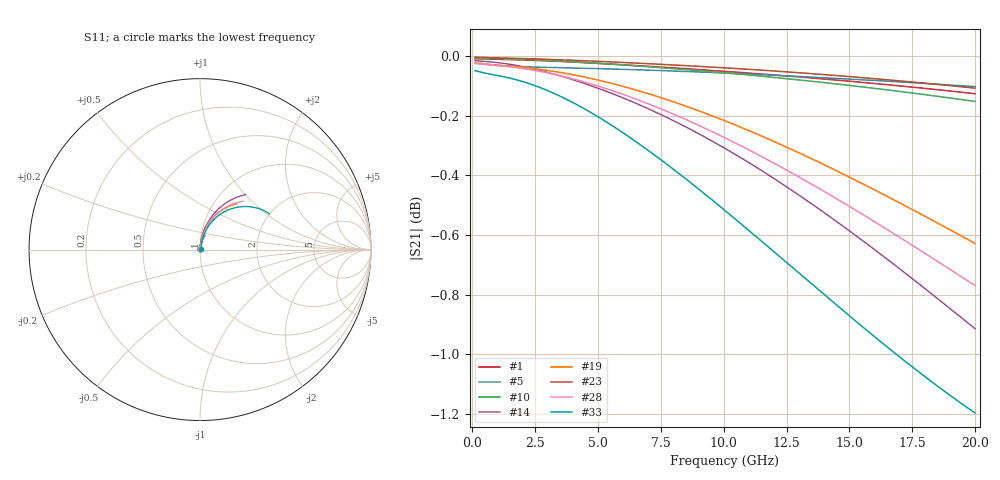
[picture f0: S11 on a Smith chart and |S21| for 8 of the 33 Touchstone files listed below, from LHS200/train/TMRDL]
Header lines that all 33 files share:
! Touchstone file exported from HFSS 2026.1.0
!  Design:  TMRDL
! Variables:
! Terminal data exported
# GHz S MA R 50.000000
Fixed: h_bsmrdl = 2um, h_ox = 20um, h_rdl = 5um, h_sub = 80um, h_tsv = 80um, h_via = 3um, l_bsmrdl = 300um, m_sub = 200um, r_tsv = 6um, s_tmrdl = 10um, w_bsmrdl = 18um, w_sub = 500um
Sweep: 100 MHz to 20 GHz
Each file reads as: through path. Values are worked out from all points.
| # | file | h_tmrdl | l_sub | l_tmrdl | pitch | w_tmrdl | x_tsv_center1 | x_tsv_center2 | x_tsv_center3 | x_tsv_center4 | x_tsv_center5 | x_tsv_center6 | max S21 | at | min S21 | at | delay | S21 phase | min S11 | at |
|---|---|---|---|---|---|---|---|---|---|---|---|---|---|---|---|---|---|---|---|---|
| 1 | dut100.s2p | 5.72um | 560.83um | 160.83um | 32.44um | 10.01um | 165.835um | 483.835um | 654.675um | 972.675um | 1143.515um | 1461.515um | -0.01 dB | 100 MHz | -0.1 dB | 20 GHz | 1.77 ps | -7 deg at 10.1 GHz | -57.5 dB | 100 MHz |
| 2 | dut101.s2p | 2.25um | 1359.22um | 959.22um | 56.12um | 28.92um | 973.68um | 1291.68um | 2279.82um | 2597.82um | 3585.96um | 3903.96um | -0.05 dB | 100 MHz | -1.2 dB | 20 GHz | 8.51 ps | -33 deg at 10.1 GHz | -43.5 dB | 100 MHz |
| 3 | dut104.s2p | 5.92um | 520.7um | 120.7um | 58.37um | 29.01um | 135.205um | 453.205um | 602.915um | 920.915um | 1070.625um | 1388.625um | 0.00 dB | 100 MHz | -0.1 dB | 20 GHz | 1.5 ps | -6 deg at 10.1 GHz | -62.9 dB | 100 MHz |
| 4 | dut105.s2p | 2.46um | 1120.63um | 720.63um | 12.65um | 10.52um | 725.89um | 1043.89um | 1775.04um | 2093.04um | 2824.19um | 3142.19um | -0.09 dB | 100 MHz | -0.3 dB | 20 GHz | 5.53 ps | -20 deg at 10.1 GHz | -40.1 dB | 100 MHz |
| 5 | dut106.s2p | 2.01um | 628.7um | 228.7um | 22.67um | 15.88um | 236.64um | 554.64um | 799.22um | 1117.22um | 1361.8um | 1679.8um | -0.03 dB | 100 MHz | -0.1 dB | 20 GHz | 2 ps | -7 deg at 10.1 GHz | -50.6 dB | 100 MHz |
| 6 | dut108.s2p | 5.53um | 705.95um | 305.95um | 12.91um | 10.56um | 311.23um | 629.23um | 945.74um | 1263.74um | 1580.25um | 1898.25um | -0.02 dB | 100 MHz | -0.1 dB | 20 GHz | 2.41 ps | -9 deg at 10.1 GHz | -54.1 dB | 100 MHz |
| 7 | dut109.s2p | 5.86um | 1319.67um | 919.67um | 14.39um | 12.32um | 925.83um | 1243.83um | 2175.82um | 2493.82um | 3425.81um | 3743.81um | -0.04 dB | 100 MHz | -0.8 dB | 20 GHz | 7.33 ps | -28 deg at 10.1 GHz | -46.4 dB | 100 MHz |
| 8 | dut110.s2p | 5.74um | 1074.93um | 674.93um | 59.59um | 29.73um | 689.795um | 1007.795um | 1712.455um | 2030.455um | 2735.115um | 3053.115um | -0.01 dB | 100 MHz | -0.7 dB | 20 GHz | 6.17 ps | -23 deg at 10.1 GHz | -50.6 dB | 100 MHz |
| 9 | dut111.s2p | 5.96um | 1020.47um | 620.47um | 17.61um | 10.33um | 625.635um | 943.635um | 1574.435um | 1892.435um | 2523.235um | 2841.235um | -0.03 dB | 100 MHz | -0.2 dB | 20 GHz | 4.76 ps | -18 deg at 10.1 GHz | -48.3 dB | 100 MHz |
| 10 | dut112.s2p | 4.23um | 613.44um | 213.44um | 57.53um | 29.78um | 228.33um | 546.33um | 789.55um | 1107.55um | 1350.77um | 1668.77um | -0.01 dB | 100 MHz | -0.2 dB | 20 GHz | 2.38 ps | -9 deg at 10.1 GHz | -58.0 dB | 100 MHz |
| 11 | dut113.s2p | 2.5um | 600.59um | 200.59um | 12.37um | 10.09um | 205.635um | 523.635um | 734.315um | 1052.315um | 1262.995um | 1580.995um | -0.03 dB | 100 MHz | -0.1 dB | 20 GHz | 1.56 ps | -6 deg at 10.1 GHz | -50.4 dB | 100 MHz |
| 12 | dut114.s2p | 2.14um | 688.44um | 288.44um | 39.4um | 10.33um | 293.605um | 611.605um | 910.375um | 1228.375um | 1527.145um | 1845.145um | -0.04 dB | 100 MHz | -0.5 dB | 20 GHz | 3.52 ps | -13 deg at 10.1 GHz | -45.8 dB | 100 MHz |
| 13 | dut115.s2p | 2.02um | 1325.15um | 925.15um | 17.36um | 15.64um | 932.97um | 1250.97um | 2191.76um | 2509.76um | 3450.55um | 3768.55um | -0.09 dB | 100 MHz | -0.4 dB | 20 GHz | 7.21 ps | -27 deg at 10.1 GHz | -39.6 dB | 100 MHz |
| 14 | dut116.s2p | 5.96um | 907.2um | 507.2um | 58.98um | 17.56um | 515.98um | 833.98um | 1358.74um | 1676.74um | 2201.5um | 2519.5um | -0.02 dB | 100 MHz | -0.9 dB | 20 GHz | 5.34 ps | -21 deg at 10.1 GHz | -49.9 dB | 100 MHz |
| 15 | dut117.s2p | 4.37um | 516.55um | 116.55um | 32.01um | 11.14um | 122.12um | 440.12um | 567.81um | 885.81um | 1013.5um | 1331.5um | -0.01 dB | 100 MHz | -0.1 dB | 20 GHz | 1.37 ps | -5 deg at 10.1 GHz | -58.8 dB | 100 MHz |
| 16 | dut118.s2p | 5.64um | 502.49um | 102.49um | 19.25um | 15.57um | 110.275um | 428.275um | 546.335um | 864.335um | 982.395um | 1300.395um | 0.00 dB | 100 MHz | 0.0 dB | 20 GHz | - | -3 deg at 10.1 GHz | -65.1 dB | 100 MHz |
| 17 | dut119.s2p | 5.99um | 738.12um | 338.12um | 51.31um | 12.11um | 344.175um | 662.175um | 1012.405um | 1330.405um | 1680.635um | 1998.635um | -0.01 dB | 100 MHz | -0.6 dB | 20 GHz | 3.89 ps | -15 deg at 10.1 GHz | -51.7 dB | 100 MHz |
| 18 | dut120.s2p | 2.03um | 873.42um | 473.42um | 26.79um | 24.73um | 485.785um | 803.785um | 1301.935um | 1619.935um | 2118.085um | 2436.085um | -0.03 dB | 100 MHz | -0.2 dB | 20 GHz | 3.79 ps | -14 deg at 10.1 GHz | -48.5 dB | 100 MHz |
| 19 | dut121.s2p | 2.81um | 922.07um | 522.07um | 59.32um | 29.54um | 536.84um | 854.84um | 1406.45um | 1724.45um | 2276.06um | 2594.06um | -0.02 dB | 100 MHz | -0.6 dB | 20 GHz | 5.21 ps | -20 deg at 10.1 GHz | -49.4 dB | 100 MHz |
| 20 | dut122.s2p | 5.14um | 1375.36um | 975.36um | 59.43um | 29.47um | 990.095um | 1308.095um | 2312.925um | 2630.925um | 3635.755um | 3953.755um | -0.02 dB | 100 MHz | -1.1 dB | 20 GHz | 8.44 ps | -33 deg at 10.1 GHz | -47.3 dB | 100 MHz |
| 21 | dut124.s2p | 3.13um | 536.07um | 136.07um | 58.71um | 20.36um | 146.25um | 464.25um | 620.68um | 938.68um | 1095.11um | 1413.11um | -0.01 dB | 100 MHz | -0.2 dB | 20 GHz | 1.99 ps | -7 deg at 10.1 GHz | -57.1 dB | 100 MHz |
| 22 | dut125.s2p | 3.75um | 902.95um | 502.95um | 21.31um | 19.72um | 512.81um | 830.81um | 1353.48um | 1671.48um | 2194.15um | 2512.15um | -0.02 dB | 100 MHz | -0.4 dB | 20 GHz | 4.24 ps | -16 deg at 10.1 GHz | -51.4 dB | 100 MHz |
| 23 | dut126.s2p | 5.91um | 537.95um | 137.95um | 54.88um | 21.43um | 148.665um | 466.665um | 626.045um | 944.045um | 1103.425um | 1421.425um | 0.00 dB | 100 MHz | -0.1 dB | 20 GHz | 1.74 ps | -6 deg at 10.1 GHz | -60.7 dB | 100 MHz |
| 24 | dut127.s2p | 2.17um | 852.24um | 452.24um | 22.63um | 11.19um | 457.835um | 775.835um | 1239.265um | 1557.265um | 2020.695um | 2338.695um | -0.06 dB | 100 MHz | -0.5 dB | 20 GHz | 4.15 ps | -15 deg at 10.1 GHz | -43.2 dB | 100 MHz |
| 25 | dut128.s2p | 5.93um | 1005.8um | 605.8um | 32.27um | 29.84um | 620.72um | 938.72um | 1574.36um | 1892.36um | 2528um | 2846um | -0.01 dB | 100 MHz | -0.4 dB | 20 GHz | 5.03 ps | -19 deg at 10.1 GHz | -55.5 dB | 100 MHz |
| 26 | dut129.s2p | 3.84um | 501.12um | 101.12um | 34.65um | 17.89um | 110.065um | 428.065um | 547.075um | 865.075um | 984.085um | 1302.085um | -0.01 dB | 100 MHz | -0.1 dB | 20 GHz | 1.14 ps | -4 deg at 10.1 GHz | -61.5 dB | 100 MHz |
| 27 | dut130.s2p | 2.15um | 1378.22um | 978.22um | 39.2um | 21.69um | 989.065um | 1307.065um | 2306.975um | 2624.975um | 3624.885um | 3942.885um | -0.07 dB | 100 MHz | -1.0 dB | 20 GHz | 8.39 ps | -32 deg at 10.1 GHz | -41.6 dB | 100 MHz |
| 28 | dut132.s2p | 3.69um | 974.25um | 574.25um | 49.55um | 21.46um | 584.98um | 902.98um | 1498.69um | 1816.69um | 2412.4um | 2730.4um | -0.02 dB | 100 MHz | -0.8 dB | 20 GHz | 5.59 ps | -21 deg at 10.1 GHz | -48.6 dB | 100 MHz |
| 29 | dut133.s2p | 5.42um | 1001.36um | 601.36um | 26.49um | 24.93um | 613.825um | 931.825um | 1558.115um | 1876.115um | 2502.405um | 2820.405um | -0.02 dB | 100 MHz | -0.7 dB | 20 GHz | 5.36 ps | -20 deg at 10.1 GHz | -53.5 dB | 100 MHz |
| 30 | dut134.s2p | 5.93um | 833.03um | 433.03um | 35.09um | 12.32um | 439.19um | 757.19um | 1202.54um | 1520.54um | 1965.89um | 2283.89um | -0.02 dB | 100 MHz | -0.5 dB | 20 GHz | 4.16 ps | -16 deg at 10.1 GHz | -51.0 dB | 100 MHz |
| 31 | dut135.s2p | 4.88um | 520.16um | 120.16um | 44.65um | 29.09um | 134.705um | 452.705um | 601.955um | 919.955um | 1069.205um | 1387.205um | 0.00 dB | 100 MHz | 0.0 dB | 20 GHz | 1.26 ps | -5 deg at 10.1 GHz | -64.0 dB | 100 MHz |
| 32 | dut137.s2p | 3.97um | 714.91um | 314.91um | 57.66um | 19.96um | 324.89um | 642.89um | 977.76um | 1295.76um | 1630.63um | 1948.63um | -0.01 dB | 100 MHz | -0.5 dB | 20 GHz | 3.66 ps | -14 deg at 10.1 GHz | -52.6 dB | 100 MHz |
| 33 | dut138.s2p | 4.1um | 1390.2um | 990.2um | 34.13um | 15.27um | 997.835um | 1315.835um | 2321.305um | 2639.305um | 3644.775um | 3962.775um | -0.05 dB | 100 MHz | -1.2 dB | 20 GHz | 8.38 ps | -33 deg at 10.1 GHz | -43.5 dB | 100 MHz |
